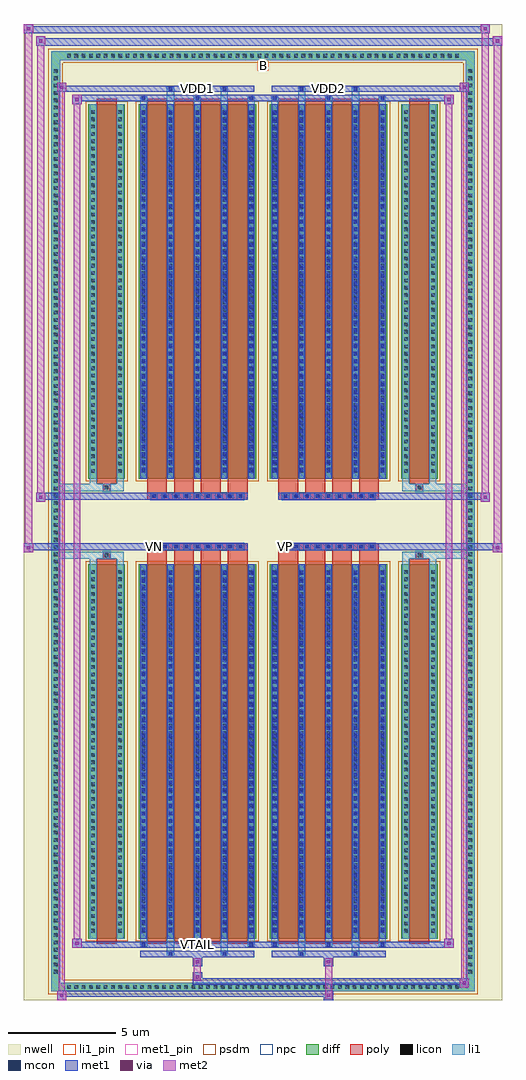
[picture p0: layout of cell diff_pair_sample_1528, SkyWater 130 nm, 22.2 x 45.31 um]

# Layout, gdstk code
import gdstk
lib = gdstk.Library(unit=1e-6, precision=5e-09)
def R(c, l, rs):  # rectangles x0, y0, x1, y1
    for r in rs: c.add(gdstk.rectangle(r[:2], r[2:], *l))
def A(c, l, x, y, w, h, nx, ny, dx, dy):  # array of equal rectangles
    R(c, l, [(x+i*dx, y+j*dy, x+i*dx+w, y+j*dy+h) for i in range(nx) for j in range(ny)])
def P(c, l, *ps):  # polygons
    for p in ps: c.add(gdstk.Polygon(p, *l))
nwell = (64, 20)
diff = (65, 20)
poly = (66, 20)
licon = (66, 44)
li1_pin = (67, 16)
li1 = (67, 20)
mcon = (67, 44)
met1_pin = (68, 16)
met1 = (68, 20)
via = (68, 44)
met2 = (69, 20)
psdm = (94, 20)
npc = (95, 20)

diff_pair_sample_1528 = lib.new_cell('diff_pair_sample_1528')
R(diff_pair_sample_1528, nwell, [(-11.1,-22.22,11.1,23.09), (-8.42,-20.41,-0.01,-0.805), (0.01,-20.41,8.42,-0.805), (-8.42,0.805,-0.01,20.41), (0.01,0.805,8.42,20.41)])
A(diff_pair_sample_1528, diff, -9.215, -21.82, 0.41, 0.41, 54, 2, 0.34, 43.23)
A(diff_pair_sample_1528, diff, -9.83, -21.115, 0.41, 0.41, 1, 124, 0, 0.34)
A(diff_pair_sample_1528, diff, 9.42, -21.115, 0.41, 0.41, 1, 124, 0, 0.34)
R(diff_pair_sample_1528, diff, [(-9.215,-21.82,9.215,-21.41), (-9.83,-21.115,-9.42,21.115), (9.42,-21.115,9.83,21.115), (-8.11,-19.365,-6.41,-1.985), (-5.77,-19.365,-0.32,-1.985), (0.32,-19.365,5.77,-1.985), (6.41,-19.365,8.11,-1.985), (-8.11,1.985,-6.41,19.365), (-5.77,1.985,-0.32,19.365), (0.32,1.985,5.77,19.365), (6.41,1.985,8.11,19.365), (-9.215,21.41,9.215,21.82)])
P(diff_pair_sample_1528, diff, [(9.83,21.82),(-9.83,21.82),(-9.83,-21.41),(-9.42,-21.41),(-9.42,21.41),(9.42,21.41),(9.42,-21.41),(-9.42,-21.41),(-9.83,-21.41),(-9.83,-21.82),(9.83,-21.82)])
A(diff_pair_sample_1528, poly, -5.38, -19.615, 0.92, 17.88, 4, 2, 1.25, 21.35)
A(diff_pair_sample_1528, poly, 0.71, -19.615, 0.92, 17.88, 4, 2, 1.25, 21.35)
A(diff_pair_sample_1528, poly, -5.38, -1.735, 0.92, 0.4, 4, 2, 1.25, 3.07)
A(diff_pair_sample_1528, poly, 0.71, -1.735, 0.92, 0.4, 4, 2, 1.25, 3.07)
A(diff_pair_sample_1528, poly, -5.21, -1.335, 0.33, 0.33, 9, 2, 0.5, 2.34)
A(diff_pair_sample_1528, poly, 0.88, -1.335, 0.33, 0.33, 9, 2, 0.5, 2.34)
R(diff_pair_sample_1528, poly, [(-7.72,-19.615,-6.8,-1.735), (6.8,-19.615,7.72,-1.735), (-7.425,-1.735,-7.095,-1.405), (-7.425,-1.735,-7.095,-1.405), (7.095,-1.735,7.425,-1.405), (7.095,-1.735,7.425,-1.405), (-5.38,-1.335,-0.71,-1.005), (0.71,-1.335,5.38,-1.005), (-5.38,1.005,-0.71,1.335), (0.71,1.005,5.38,1.335), (-7.425,1.405,-7.095,1.735), (-7.425,1.405,-7.095,1.735), (7.095,1.405,7.425,1.735), (7.095,1.405,7.425,1.735), (-7.72,1.735,-6.8,19.615), (6.8,1.735,7.72,19.615)])
A(diff_pair_sample_1528, licon, -9.095, -21.7, 0.17, 0.17, 54, 2, 0.34, 43.23)
A(diff_pair_sample_1528, licon, -9.71, -20.995, 0.17, 0.17, 1, 124, 0, 0.34)
A(diff_pair_sample_1528, licon, 9.54, -20.995, 0.17, 0.17, 1, 124, 0, 0.34)
A(diff_pair_sample_1528, licon, -7.97, -19.09, 0.17, 0.17, 1, 50, 0, 0.34)
A(diff_pair_sample_1528, licon, -6.72, -19.09, 0.17, 0.17, 1, 50, 0, 0.34)
A(diff_pair_sample_1528, licon, -5.63, -19.09, 0.17, 0.17, 5, 50, 1.25, 0.34)
A(diff_pair_sample_1528, licon, 0.46, -19.09, 0.17, 0.17, 5, 50, 1.25, 0.34)
A(diff_pair_sample_1528, licon, 6.55, -19.09, 0.17, 0.17, 1, 50, 0, 0.34)
A(diff_pair_sample_1528, licon, 7.8, -19.09, 0.17, 0.17, 1, 50, 0, 0.34)
A(diff_pair_sample_1528, licon, -5.13, -1.255, 0.17, 0.17, 9, 2, 0.5, 2.34)
A(diff_pair_sample_1528, licon, 0.96, -1.255, 0.17, 0.17, 9, 2, 0.5, 2.34)
A(diff_pair_sample_1528, licon, -7.97, 2.26, 0.17, 0.17, 1, 50, 0, 0.34)
A(diff_pair_sample_1528, licon, -6.72, 2.26, 0.17, 0.17, 1, 50, 0, 0.34)
A(diff_pair_sample_1528, licon, -5.63, 2.26, 0.17, 0.17, 5, 50, 1.25, 0.34)
A(diff_pair_sample_1528, licon, 0.46, 2.26, 0.17, 0.17, 5, 50, 1.25, 0.34)
A(diff_pair_sample_1528, licon, 6.55, 2.26, 0.17, 0.17, 1, 50, 0, 0.34)
A(diff_pair_sample_1528, licon, 7.8, 2.26, 0.17, 0.17, 1, 50, 0, 0.34)
R(diff_pair_sample_1528, licon, [(-7.345,-1.655,-7.175,-1.485), (7.175,-1.655,7.345,-1.485), (-7.345,1.485,-7.175,1.655), (7.175,1.485,7.345,1.655)])
R(diff_pair_sample_1528, li1_pin, [(-0.25,20.91,0.25,21.41)])
A(diff_pair_sample_1528, li1, -9.175, -21.78, 0.33, 0.33, 54, 2, 0.34, 43.23)
A(diff_pair_sample_1528, li1, -9.79, -21.075, 0.33, 0.33, 1, 124, 0, 0.34)
A(diff_pair_sample_1528, li1, 9.46, -21.075, 0.33, 0.33, 1, 124, 0, 0.34)
A(diff_pair_sample_1528, li1, -5.71, -19.74, 0.33, 0.375, 3, 2, 2.5, 39.105)
A(diff_pair_sample_1528, li1, -5.63, -19.74, 0.17, 0.17, 3, 2, 2.5, 39.31)
A(diff_pair_sample_1528, li1, 0.38, -19.74, 0.33, 0.375, 3, 2, 2.5, 39.105)
A(diff_pair_sample_1528, li1, 0.46, -19.74, 0.17, 0.17, 3, 2, 2.5, 39.31)
A(diff_pair_sample_1528, li1, -5.71, -19.365, 0.33, 17.38, 5, 2, 1.25, 21.35)
A(diff_pair_sample_1528, li1, 0.38, -19.365, 0.33, 17.38, 5, 2, 1.25, 21.35)
A(diff_pair_sample_1528, li1, -8.05, -19.17, 0.33, 0.33, 1, 50, 0, 0.34)
A(diff_pair_sample_1528, li1, -6.8, -19.17, 0.33, 0.33, 1, 50, 0, 0.34)
A(diff_pair_sample_1528, li1, -5.71, -19.17, 0.33, 0.33, 5, 50, 1.25, 0.34)
A(diff_pair_sample_1528, li1, 0.38, -19.17, 0.33, 0.33, 5, 50, 1.25, 0.34)
A(diff_pair_sample_1528, li1, 6.47, -19.17, 0.33, 0.33, 1, 50, 0, 0.34)
A(diff_pair_sample_1528, li1, 7.72, -19.17, 0.33, 0.33, 1, 50, 0, 0.34)
A(diff_pair_sample_1528, li1, -5.63, -19.04, 0.17, 0.17, 5, 47, 1.25, 0.36)
A(diff_pair_sample_1528, li1, -5.63, -19.04, 0.17, 16.73, 5, 2, 1.25, 21.35)
A(diff_pair_sample_1528, li1, 0.46, -19.04, 0.17, 0.17, 5, 47, 1.25, 0.36)
A(diff_pair_sample_1528, li1, 0.46, -19.04, 0.17, 16.73, 5, 2, 1.25, 21.35)
A(diff_pair_sample_1528, li1, -5.21, -1.335, 0.33, 0.33, 9, 2, 0.5, 2.34)
A(diff_pair_sample_1528, li1, 0.88, -1.335, 0.33, 0.33, 9, 2, 0.5, 2.34)
A(diff_pair_sample_1528, li1, -8.05, 2.18, 0.33, 0.33, 1, 50, 0, 0.34)
A(diff_pair_sample_1528, li1, -6.8, 2.18, 0.33, 0.33, 1, 50, 0, 0.34)
A(diff_pair_sample_1528, li1, -5.71, 2.18, 0.33, 0.33, 5, 50, 1.25, 0.34)
A(diff_pair_sample_1528, li1, 0.38, 2.18, 0.33, 0.33, 5, 50, 1.25, 0.34)
A(diff_pair_sample_1528, li1, 6.47, 2.18, 0.33, 0.33, 1, 50, 0, 0.34)
A(diff_pair_sample_1528, li1, 7.72, 2.18, 0.33, 0.33, 1, 50, 0, 0.34)
A(diff_pair_sample_1528, li1, -5.63, 2.31, 0.17, 0.17, 5, 47, 1.25, 0.36)
A(diff_pair_sample_1528, li1, 0.46, 2.31, 0.17, 0.17, 5, 47, 1.25, 0.36)
R(diff_pair_sample_1528, li1, [(-9.83,-21.82,-9.42,-21.41), (-9.83,-21.82,-9.42,-21.41), (-9.42,-21.82,9.42,-21.41), (9.42,-21.82,9.83,-21.41), (9.42,-21.82,9.83,-21.41), (-9.83,-21.41,-9.42,21.41), (9.42,-21.41,9.83,21.41), (-4.46,-20.17,-4.13,-19.365), (-4.38,-20.17,-4.21,-20), (-1.96,-20.17,-1.63,-19.365), (-1.88,-20.17,-1.71,-20), (1.63,-20.17,1.96,-19.365), (1.71,-20.17,1.88,-20), (4.13,-20.17,4.46,-19.365), (4.21,-20.17,4.38,-20), (-8.05,-19.365,-7.72,-1.985), (-6.8,-19.365,-6.47,-1.985), (6.47,-19.365,6.8,-1.985), (7.72,-19.365,8.05,-1.985), (-8.05,-1.985,-7.72,-1.405), (-6.8,-1.985,-6.47,-1.405), (6.47,-1.985,6.8,-1.405), (7.72,-1.985,8.05,-1.405), (-9.83,-1.735,-7.425,-1.405), (-8.05,-1.735,-7.425,-1.405), (-7.425,-1.735,-7.095,-1.405), (-7.095,-1.735,-6.47,-1.405), (6.47,-1.735,7.095,-1.405), (7.095,-1.735,7.425,-1.405), (7.095,-1.735,9.83,-1.405), (7.425,-1.735,8.05,-1.405), (-9.83,1.405,-7.425,1.735), (-8.05,1.405,-7.425,1.735), (-8.05,1.405,-7.72,1.985), (-7.425,1.405,-7.095,1.735), (-7.095,1.405,-6.47,1.735), (-6.8,1.405,-6.47,1.985), (6.47,1.405,7.095,1.735), (6.47,1.405,6.8,1.985), (7.095,1.405,7.425,1.735), (7.095,1.405,9.83,1.735), (7.425,1.405,8.05,1.735), (7.72,1.405,8.05,1.985), (-8.05,1.985,-7.72,19.365), (-6.8,1.985,-6.47,19.365), (6.47,1.985,6.8,19.365), (7.72,1.985,8.05,19.365), (-4.46,19.365,-4.13,20.17), (-1.96,19.365,-1.63,20.17), (1.63,19.365,1.96,20.17), (4.13,19.365,4.46,20.17), (-4.38,20,-4.21,20.17), (-1.88,20,-1.71,20.17), (1.71,20,1.88,20.17), (4.21,20,4.38,20.17), (-9.83,21.41,-9.42,21.82), (-9.83,21.41,-9.42,21.82), (-9.42,21.41,9.42,21.82), (9.42,21.41,9.83,21.82), (9.42,21.41,9.83,21.82)])
A(diff_pair_sample_1528, mcon, -5.63, -19.74, 0.17, 0.17, 3, 2, 2.5, 39.31)
A(diff_pair_sample_1528, mcon, 0.46, -19.74, 0.17, 0.17, 3, 2, 2.5, 39.31)
A(diff_pair_sample_1528, mcon, -5.63, -19.04, 0.17, 0.17, 5, 47, 1.25, 0.36)
A(diff_pair_sample_1528, mcon, 0.46, -19.04, 0.17, 0.17, 5, 47, 1.25, 0.36)
A(diff_pair_sample_1528, mcon, -5.13, -1.255, 0.17, 0.17, 9, 2, 0.5, 2.34)
A(diff_pair_sample_1528, mcon, 0.96, -1.255, 0.17, 0.17, 9, 2, 0.5, 2.34)
A(diff_pair_sample_1528, mcon, -5.63, 2.31, 0.17, 0.17, 5, 47, 1.25, 0.36)
A(diff_pair_sample_1528, mcon, 0.46, 2.31, 0.17, 0.17, 5, 47, 1.25, 0.36)
R(diff_pair_sample_1528, mcon, [(-4.38,-20.17,-4.21,-20), (-1.88,-20.17,-1.71,-20), (1.71,-20.17,1.88,-20), (4.21,-20.17,4.38,-20), (-4.38,20,-4.21,20.17), (-1.88,20,-1.71,20.17), (1.71,20,1.88,20.17), (4.21,20,4.38,20.17)])
R(diff_pair_sample_1528, met1_pin, [(-3.18,-19.78,-2.91,-19.51), (-5.18,-1.295,-4.91,-1.025), (0.91,-1.295,1.18,-1.025), (-3.18,19.96,-2.91,20.23), (2.91,19.96,3.18,20.23)])
A(diff_pair_sample_1528, met1, -5.69, -19.8, 0.29, 0.29, 3, 2, 2.5, 39.31)
A(diff_pair_sample_1528, met1, 0.4, -19.8, 0.29, 0.29, 3, 2, 2.5, 39.31)
A(diff_pair_sample_1528, met1, -5.69, -19.365, 0.29, 17.38, 5, 2, 1.25, 21.35)
A(diff_pair_sample_1528, met1, 0.4, -19.365, 0.29, 17.38, 5, 2, 1.25, 21.35)
A(diff_pair_sample_1528, met1, -5.69, -19.1, 0.29, 0.29, 5, 47, 1.25, 0.36)
A(diff_pair_sample_1528, met1, 0.4, -19.1, 0.29, 0.29, 5, 47, 1.25, 0.36)
A(diff_pair_sample_1528, met1, -5.19, -1.315, 0.29, 0.29, 9, 2, 0.5, 2.34)
A(diff_pair_sample_1528, met1, 0.9, -1.315, 0.29, 0.29, 9, 2, 0.5, 2.34)
A(diff_pair_sample_1528, met1, -5.69, 2.25, 0.29, 0.29, 5, 47, 1.25, 0.36)
A(diff_pair_sample_1528, met1, 0.4, 2.25, 0.29, 0.29, 5, 47, 1.25, 0.36)
R(diff_pair_sample_1528, met1, [(-9.56,-22.22,-9.13,-21.79), (2.83,-22.22,3.26,-21.79), (-9.56,-22.08,3.26,-21.79), (9.13,-21.65,9.56,-21.22), (-3.26,-21.51,9.56,-21.22), (-3.26,-21.37,-2.83,-20.94), (-3.26,-20.66,-2.83,-20.23), (2.83,-20.66,3.26,-20.23), (-5.69,-20.23,-0.4,-19.94), (-4.44,-20.23,-4.15,-19.94), (-1.94,-20.23,-1.65,-19.94), (0.4,-20.23,5.69,-19.94), (1.65,-20.23,1.94,-19.94), (4.15,-20.23,4.44,-19.94), (-8.85,-19.8,-8.42,-19.37), (-8.85,-19.8,-5.69,-19.51), (-5.69,-19.8,-0.4,-19.51), (-0.4,-19.8,0.4,-19.51), (0.4,-19.8,5.69,-19.51), (5.69,-19.8,8.85,-19.51), (8.42,-19.8,8.85,-19.37), (-11.1,-1.435,-10.67,-1.005), (10.67,-1.435,11.1,-1.005), (-11.1,-1.335,-0.71,-1.005), (-5.38,-1.335,-0.71,-1.005), (0.71,-1.335,5.38,-1.005), (0.71,-1.335,11.1,-1.005), (-10.53,0.905,-10.1,1.335), (10.1,0.905,10.53,1.335), (-10.53,1.005,-5.38,1.335), (-5.38,1.005,-0.71,1.335), (0.71,1.005,5.38,1.335), (5.38,1.005,10.53,1.335), (-8.85,19.37,-8.42,19.8), (8.42,19.37,8.85,19.8), (-8.85,19.51,-5.69,19.8), (-5.69,19.51,-0.4,19.8), (-0.4,19.51,0.4,19.8), (0.4,19.51,5.69,19.8), (5.69,19.51,8.85,19.8), (-9.56,19.94,-9.13,20.37), (-9.56,19.94,-5.69,20.23), (-5.69,19.94,-0.4,20.23), (-4.44,19.94,-4.15,20.23), (-1.94,19.94,-1.65,20.23), (0.4,19.94,5.69,20.23), (1.65,19.94,1.94,20.23), (4.15,19.94,4.44,20.23), (5.69,19.94,9.56,20.23), (9.13,19.94,9.56,20.37), (-10.53,22.09,-10.1,22.52), (-10.53,22.09,-8.42,22.42), (-8.42,22.09,8.42,22.42), (8.42,22.09,11.1,22.42), (10.67,22.09,11.1,22.52), (-11.1,22.66,-10.67,23.09), (-11.1,22.66,-8.42,22.99), (-8.42,22.66,8.42,22.99), (8.42,22.66,10.53,22.99), (10.1,22.66,10.53,23.09)])
R(diff_pair_sample_1528, via, [(-9.42,-22.08,-9.27,-21.93), (2.97,-22.08,3.12,-21.93), (9.27,-21.51,9.42,-21.36), (-3.12,-21.23,-2.97,-21.08), (-3.12,-20.52,-2.97,-20.37), (2.97,-20.52,3.12,-20.37), (-8.71,-19.66,-8.56,-19.51), (8.56,-19.66,8.71,-19.51), (-10.96,-1.295,-10.81,-1.145), (10.81,-1.295,10.96,-1.145), (-10.39,1.045,-10.24,1.195), (10.24,1.045,10.39,1.195), (-8.71,19.51,-8.56,19.66), (8.56,19.51,8.71,19.66), (-9.42,20.08,-9.27,20.23), (9.27,20.08,9.42,20.23), (-10.39,22.23,-10.24,22.38), (10.81,22.23,10.96,22.38), (-10.96,22.8,-10.81,22.95), (10.24,22.8,10.39,22.95)])
R(diff_pair_sample_1528, met2, [(-9.56,-22.22,-9.13,-21.79), (-9.49,-22.22,-9.2,20.37), (-9.2,-22.22,-9.13,-21.79), (-9.51,-22.17,-9.18,-21.84), (2.88,-22.17,3.21,-21.84), (2.88,-21.84,3.21,-20.61), (9.13,-21.65,9.56,-21.22), (9.2,-21.65,9.49,20.37), (9.49,-21.65,9.56,-21.22), (9.18,-21.6,9.51,-21.27), (-3.21,-21.32,-2.88,-20.99), (-3.21,-20.99,-2.88,-20.61), (-3.21,-20.61,-2.88,-20.28), (2.88,-20.61,3.21,-20.28), (-8.85,-19.8,-8.42,-19.37), (-8.78,-19.8,-8.49,19.8), (-8.49,-19.8,-8.42,-19.37), (8.42,-19.8,8.85,-19.37), (8.49,-19.8,8.78,19.8), (8.78,-19.8,8.85,-19.37), (-8.8,-19.75,-8.47,-19.42), (8.47,-19.75,8.8,-19.42), (-11.1,-1.435,-10.67,-1.005), (-11.05,-1.435,-10.72,23.09), (-10.72,-1.435,-10.67,-1.005), (10.67,-1.435,11.1,-1.005), (10.72,-1.435,11.05,22.52), (11.05,-1.435,11.1,-1.005), (-11.05,-1.385,-10.72,-1.055), (10.72,-1.385,11.05,-1.055), (-10.53,0.905,-10.1,1.335), (-10.48,0.905,-10.15,22.52), (-10.15,0.905,-10.1,1.335), (10.1,0.905,10.53,1.335), (10.15,0.905,10.48,23.09), (10.48,0.905,10.53,1.335), (-10.48,0.955,-10.15,1.285), (10.15,0.955,10.48,1.285), (-8.85,19.37,-8.42,19.8), (-8.49,19.37,-8.42,19.8), (8.42,19.37,8.85,19.8), (8.78,19.37,8.85,19.8), (-8.8,19.42,-8.47,19.75), (8.47,19.42,8.8,19.75), (-9.56,19.94,-9.13,20.37), (-9.2,19.94,-9.13,20.37), (9.13,19.94,9.56,20.37), (9.49,19.94,9.56,20.37), (-9.51,19.99,-9.18,20.32), (9.18,19.99,9.51,20.32), (-10.53,22.09,-10.1,22.52), (-10.15,22.09,-10.1,22.52), (10.67,22.09,11.1,22.52), (11.05,22.09,11.1,22.52), (-10.48,22.14,-10.15,22.47), (10.72,22.14,11.05,22.47), (-11.1,22.66,-10.67,23.09), (-10.72,22.66,-10.67,23.09), (10.1,22.66,10.53,23.09), (10.48,22.66,10.53,23.09), (-11.05,22.71,-10.72,23.04), (10.15,22.71,10.48,23.04)])
R(diff_pair_sample_1528, psdm, [(-8.24,-19.495,-6.28,-1.855), (-5.9,-19.495,-0.19,-1.855), (0.19,-19.495,5.9,-1.855), (6.28,-19.495,8.24,-1.855), (-8.24,1.855,-6.28,19.495), (-5.9,1.855,-0.19,19.495), (0.19,1.855,5.9,19.495), (6.28,1.855,8.24,19.495)])
P(diff_pair_sample_1528, psdm, [(9.96,21.95),(-9.96,21.95),(-9.96,-21.28),(-9.29,-21.28),(-9.29,21.28),(9.29,21.28),(9.29,-21.28),(-9.29,-21.28),(-9.96,-21.28),(-9.96,-21.95),(9.96,-21.95)])
A(diff_pair_sample_1528, npc, -5.23, -1.355, 0.37, 0.37, 9, 2, 0.5, 2.34)
A(diff_pair_sample_1528, npc, 0.86, -1.355, 0.37, 0.37, 9, 2, 0.5, 2.34)
R(diff_pair_sample_1528, npc, [(-7.445,-1.755,-7.075,-1.385), (7.075,-1.755,7.445,-1.385), (-5.23,-1.355,-4.36,-0.985), (-5.23,-1.355,-4.36,-0.985), (-4.73,-1.355,-3.86,-0.985), (-4.73,-1.355,-3.86,-0.985), (-4.23,-1.355,-3.36,-0.985), (-4.23,-1.355,-3.36,-0.985), (-3.73,-1.355,-2.86,-0.985), (-3.73,-1.355,-2.86,-0.985), (-3.23,-1.355,-2.36,-0.985), (-3.23,-1.355,-2.36,-0.985), (-2.73,-1.355,-1.86,-0.985), (-2.73,-1.355,-1.86,-0.985), (-2.23,-1.355,-1.36,-0.985), (-2.23,-1.355,-1.36,-0.985), (-1.73,-1.355,-0.86,-0.985), (-1.73,-1.355,-0.86,-0.985), (0.86,-1.355,1.73,-0.985), (0.86,-1.355,1.73,-0.985), (1.36,-1.355,2.23,-0.985), (1.36,-1.355,2.23,-0.985), (1.86,-1.355,2.73,-0.985), (1.86,-1.355,2.73,-0.985), (2.36,-1.355,3.23,-0.985), (2.36,-1.355,3.23,-0.985), (2.86,-1.355,3.73,-0.985), (2.86,-1.355,3.73,-0.985), (3.36,-1.355,4.23,-0.985), (3.36,-1.355,4.23,-0.985), (3.86,-1.355,4.73,-0.985), (3.86,-1.355,4.73,-0.985), (4.36,-1.355,5.23,-0.985), (4.36,-1.355,5.23,-0.985), (-5.23,0.985,-4.36,1.355), (-5.23,0.985,-4.36,1.355), (-4.73,0.985,-3.86,1.355), (-4.73,0.985,-3.86,1.355), (-4.23,0.985,-3.36,1.355), (-4.23,0.985,-3.36,1.355), (-3.73,0.985,-2.86,1.355), (-3.73,0.985,-2.86,1.355), (-3.23,0.985,-2.36,1.355), (-3.23,0.985,-2.36,1.355), (-2.73,0.985,-1.86,1.355), (-2.73,0.985,-1.86,1.355), (-2.23,0.985,-1.36,1.355), (-2.23,0.985,-1.36,1.355), (-1.73,0.985,-0.86,1.355), (-1.73,0.985,-0.86,1.355), (0.86,0.985,1.73,1.355), (0.86,0.985,1.73,1.355), (1.36,0.985,2.23,1.355), (1.36,0.985,2.23,1.355), (1.86,0.985,2.73,1.355), (1.86,0.985,2.73,1.355), (2.36,0.985,3.23,1.355), (2.36,0.985,3.23,1.355), (2.86,0.985,3.73,1.355), (2.86,0.985,3.73,1.355), (3.36,0.985,4.23,1.355), (3.36,0.985,4.23,1.355), (3.86,0.985,4.73,1.355), (3.86,0.985,4.73,1.355), (4.36,0.985,5.23,1.355), (4.36,0.985,5.23,1.355), (-7.445,1.385,-7.075,1.755), (7.075,1.385,7.445,1.755)])
diff_pair_sample_1528.add(gdstk.Label('VTAIL', (-3.045,-19.645), layer=68, texttype=5))
diff_pair_sample_1528.add(gdstk.Label('VN', (-5.045,-1.16), layer=68, texttype=5))
diff_pair_sample_1528.add(gdstk.Label('VP', (1.045,-1.16), layer=68, texttype=5))
diff_pair_sample_1528.add(gdstk.Label('B', (0,21.16), layer=67, texttype=5))
diff_pair_sample_1528.add(gdstk.Label('VDD2', (3.045,20.095), layer=68, texttype=5))
diff_pair_sample_1528.add(gdstk.Label('VDD1', (-3.045,20.095), layer=68, texttype=5))

lib.write_gds('diff_pair_sample_1528.gds')
